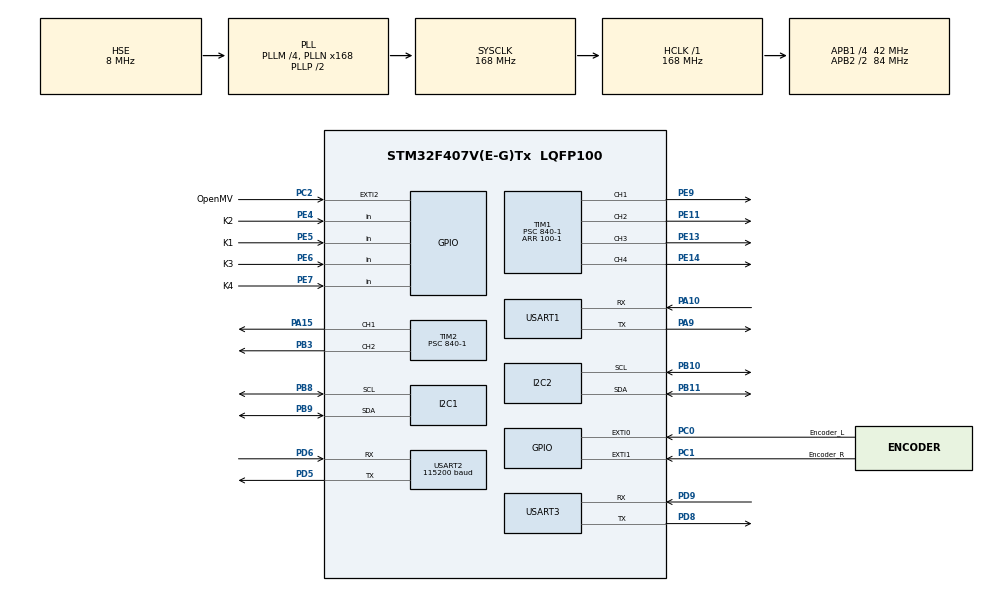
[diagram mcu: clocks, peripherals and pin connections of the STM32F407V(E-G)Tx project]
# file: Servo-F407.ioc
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Mcu.Family=STM32F4
Mcu.Name=STM32F407V(E-G)Tx
Mcu.Package=LQFP100
NVIC.EXTI0_IRQn=true\:0\:0\:false\:false\:true\:true\:true
NVIC.EXTI1_IRQn=true\:0\:0\:false\:false\:true\:true\:true
NVIC.EXTI2_IRQn=true\:0\:0\:true\:false\:true\:true\:true
NVIC.PriorityGroup=NVIC_PRIORITYGROUP_2
NVIC.TIM5_IRQn=true\:0\:0\:true\:false\:true\:true\:true
NVIC.USART1_IRQn=true\:1\:0\:true\:false\:true\:true\:true
NVIC.USART2_IRQn=true\:1\:0\:true\:false\:true\:true\:true
NVIC.USART3_IRQn=true\:1\:0\:true\:false\:true\:true\:true
PA10.Mode=Asynchronous
PA10.Signal=USART1_RX
PA15.Signal=S_TIM2_CH1_ETR
PA9.Mode=Asynchronous
PA9.Signal=USART1_TX
PB10.Mode=I2C
PB10.Signal=I2C2_SCL
PB11.Mode=I2C
PB11.Signal=I2C2_SDA
PB3.Signal=S_TIM2_CH2
PB8.Mode=I2C
PB8.Signal=I2C1_SCL
PB9.Mode=I2C
PB9.Signal=I2C1_SDA
PC0.GPIO_Label=Encoder_L
PC0.Signal=GPXTI0
PC1.GPIO_Label=Encoder_R
PC1.Signal=GPXTI1
PC2.GPIO_Label=OpenMV
PC2.Signal=GPXTI2
PD5.Mode=Asynchronous
PD5.Signal=USART2_TX
PD6.Mode=Asynchronous
PD6.Signal=USART2_RX
PD8.Mode=Asynchronous
PD8.Signal=USART3_TX
PD9.Mode=Asynchronous
PD9.Signal=USART3_RX
PE11.Signal=S_TIM1_CH2
PE13.Signal=S_TIM1_CH3
PE14.Signal=S_TIM1_CH4
PE4.GPIO_Label=K2
PE4.Signal=GPIO_Input
PE5.GPIO_Label=K1
PE5.Signal=GPIO_Input
PE6.GPIO_Label=K3
PE6.Signal=GPIO_Input
PE7.GPIO_Label=K4
PE7.Signal=GPIO_Input
PE9.Signal=S_TIM1_CH1
PH0-OSC_IN.Mode=HSE-External-Oscillator
PH0-OSC_IN.Signal=RCC_OSC_IN
PH1-OSC_OUT.Mode=HSE-External-Oscillator
PH1-OSC_OUT.Signal=RCC_OSC_OUT
ProjectManager.HeapSize=0x600
ProjectManager.StackSize=0x2000
ProjectManager.TargetToolchain=MDK-ARM V5.27
RCC.48MHZClocksFreq_Value=48000000
RCC.AHBFreq_Value=168000000
RCC.APB1CLKDivider=RCC_HCLK_DIV4
RCC.APB1Freq_Value=42000000
RCC.APB1TimFreq_Value=84000000
RCC.APB2CLKDivider=RCC_HCLK_DIV2
RCC.APB2Freq_Value=84000000
RCC.APB2TimFreq_Value=168000000
RCC.CortexFreq_Value=168000000
RCC.HCLKFreq_Value=168000000
RCC.HSE_VALUE=8000000
RCC.HSI_VALUE=16000000
RCC.LSE_VALUE=32768
RCC.PLLM=4
RCC.PLLN=168
RCC.PLLQ=7
RCC.PLLSourceVirtual=RCC_PLLSOURCE_HSE
RCC.SYSCLKFreq_VALUE=168000000
RCC.SYSCLKSource=RCC_SYSCLKSOURCE_PLLCLK
RCC.VCOOutputFreq_Value=336000000
SH.S_TIM1_CH1.0=TIM1_CH1,PWM Generation1 CH1
SH.S_TIM1_CH2.0=TIM1_CH2,PWM Generation2 CH2
SH.S_TIM1_CH3.0=TIM1_CH3,PWM Generation3 CH3
SH.S_TIM1_CH4.0=TIM1_CH4,PWM Generation4 CH4
SH.S_TIM2_CH1_ETR.0=TIM2_CH1,PWM Generation1 CH1
SH.S_TIM2_CH2.0=TIM2_CH2,PWM Generation2 CH2
TIM1.AutoReloadPreload=TIM_AUTORELOAD_PRELOAD_ENABLE
TIM1.Channel-PWM\ Generation1\ CH1=TIM_CHANNEL_1
TIM1.Channel-PWM\ Generation2\ CH2=TIM_CHANNEL_2
TIM1.Channel-PWM\ Generation3\ CH3=TIM_CHANNEL_3
TIM1.Channel-PWM\ Generation4\ CH4=TIM_CHANNEL_4
TIM1.Period=100-1
TIM1.Prescaler=840-1
TIM2.AutoReloadPreload=TIM_AUTORELOAD_PRELOAD_ENABLE
TIM2.Channel-PWM\ Generation1\ CH1=TIM_CHANNEL_1
TIM2.Channel-PWM\ Generation2\ CH2=TIM_CHANNEL_2
TIM2.Period=2000-1
TIM2.Prescaler=840-1
TIM5.AutoReloadPreload=TIM_AUTORELOAD_PRELOAD_ENABLE
TIM5.Period=1000
TIM5.Prescaler=8400-1
USART1.VirtualMode=VM_ASYNC
USART2.BaudRate=115200
USART2.VirtualMode=VM_ASYNC
USART3.VirtualMode=VM_ASYNC
VP_TIM1_VS_ClockSourceINT.Mode=Internal
VP_TIM2_VS_ClockSourceINT.Mode=Internal
VP_TIM5_VS_ClockSourceINT.Mode=Internal
board=custom

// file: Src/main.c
/* USER CODE BEGIN Header */
/**
  ******************************************************************************
  * @file           : main.c
  * @brief          : Main program body
  ******************************************************************************
  * @attention
  *
  * <h2><center>&copy; Copyright (c) 2020 STMicroelectronics.
  * All rights reserved.</center></h2>
  *
  * This software component is licensed by ST under BSD 3-Clause license,
  * the "License"; You may not use this file except in compliance with the
  * License. You may obtain a copy of the License at:
  *                        opensource.org/licenses/BSD-3-Clause
  *
  ******************************************************************************
  */
/* USER CODE END Header */
#include "main.h"
#include "i2c.h"
#include "tim.h"
#include "usart.h"
#include "gpio.h"

/* USER CODE BEGIN Includes */
#include "mlx90614.h"
#include "stdio.h"
#include "motor.h"
#include "uart_handler.h"
#include "control.h"
#include "linefinder.h"
#include "BPSim.h"
/* USER CODE END Includes */

/* USER CODE BEGIN PD */
uint8_t len;
uint16_t times=0;
float ObjectTemperature;
float AmbientTemperature,servo_x = 170,servo_y = 200;
int speed_set = 20,recive_flag = 0,scan_flag = 0;
char deviationx_rec[5],deviationy_rec[5];
uint8_t	UART1RxBuffer[1],UART2RxBuffer[1],UART3RxBuffer[1];
char Uart_get[20];
float deviationx,deviationy;
uint16_t scanresult;
uint16_t Distance;
float BP_in[2],BP_out[1];
uint16_t Encoder_L,Encoder_R;
float encoder_value_l,encoder_value_r;
int x_pos = 170,y_pos = 200;
unsigned char ucRxData[100];
unsigned char ucRxFinish=0;
static unsigned char ucCnt=0;
float Pitch,Roll,Yaw;
/* USER CODE END PD */

/* USER CODE BEGIN PV */
int fputc(int ch, FILE *f)
{
	uint8_t temp[1] = {ch};
	HAL_UART_Transmit(&huart1,temp,1,50);
	return ch;
}
 int fgetc(FILE *f)
{
  uint8_t  ch;
	HAL_UART_Receive(&huart1,(uint8_t *)&ch, 1, 0xFFFF);
	return  ch;
}

/* USER CODE END PV */

void SystemClock_Config(void);

int main(void)
{

  /* MCU Configuration--------------------------------------------------------*/

  /* Reset of all peripherals, Initializes the Flash interface and the Systick. */
  HAL_Init();

  /* Configure the system clock */
  SystemClock_Config();

  /* Initialize all configured peripherals */
  MX_GPIO_Init();
  MX_TIM1_Init();
  MX_USART1_UART_Init();
  MX_I2C1_Init();
  MX_TIM2_Init();
  MX_I2C2_Init();
  MX_TIM5_Init();
  MX_USART2_UART_Init();
  MX_USART3_UART_Init();
  /* USER CODE BEGIN 2 */
	Motor_init();
	MLX90614_Init(&hi2c2);
  MLX90614_SetEmissivity(0.985); // Human skin
	HAL_UART_Receive_IT(&huart1,UART1RxBuffer,1);
	HAL_UART_Receive_IT(&huart2,UART2RxBuffer,1);
	HAL_UART_Receive_IT(&huart3,UART3RxBuffer,1);
	HAL_TIM_Base_Start_IT(&htim5);	//开启定时器5，定时0.1s，均值滤波
	servo_init();
	simInit();
  /* USER CODE END 2 */

  /* Infinite loop */
  /* USER CODE BEGIN WHILE */
  while (1)
  {

//		Motor_set(20,0,0);
//		printf("左边电机转速：%.2f,右边电机转速：%.2f",encoder_value_l,encoder_value_r);
//		MLX90614_ReadAmbientTemperature(&AmbientTemperature);
//		MLX90614_ReadObjectTemperature(&ObjectTemperature);
//		servo_scan();
//		ScanLine_ReadPins();
//		Motor_Left_speed(20);
//		__HAL_TIM_SET_COMPARE(&htim2, TIM_CHANNEL_1,200);
//		debug_log("Now mode is %d",scanresult);
//		Control_Loop();
//		Get_Value(&ucRxFinish);
//		BP_in[0] = ObjectTemperature;
//		BP_in[1] = Distance;
//		sim(BP_in, BP_out);
//		printf("物体温度%.2f距离 %dmm",BP_out[0],Distance);
		servo_adjust(deviationx,deviationy);
//		printf("x:%.2f  y:%.2f\n",deviationx,deviationy);
		HAL_Delay(20);
    /* USER CODE END WHILE */

  }
}

void SystemClock_Config(void)
{
  RCC_OscInitTypeDef RCC_OscInitStruct = {0};
  RCC_ClkInitTypeDef RCC_ClkInitStruct = {0};

  /** Configure the main internal regulator output voltage
  */
  __HAL_RCC_PWR_CLK_ENABLE();
  __HAL_PWR_VOLTAGESCALING_CONFIG(PWR_REGULATOR_VOLTAGE_SCALE1);
  /** Initializes the RCC Oscillators according to the specified parameters
  * in the RCC_OscInitTypeDef structure.
  */
  RCC_OscInitStruct.OscillatorType = RCC_OSCILLATORTYPE_HSE;
  RCC_OscInitStruct.HSEState = RCC_HSE_ON;
  RCC_OscInitStruct.PLL.PLLState = RCC_PLL_ON;
  RCC_OscInitStruct.PLL.PLLSource = RCC_PLLSOURCE_HSE;
  RCC_OscInitStruct.PLL.PLLM = 4;
  RCC_OscInitStruct.PLL.PLLN = 168;
  RCC_OscInitStruct.PLL.PLLP = RCC_PLLP_DIV2;
  RCC_OscInitStruct.PLL.PLLQ = 7;
  if (HAL_RCC_OscConfig(&RCC_OscInitStruct) != HAL_OK)
  {
    Error_Handler();
  }
  /** Initializes the CPU, AHB and APB buses clocks
  */
  RCC_ClkInitStruct.ClockType = RCC_CLOCKTYPE_HCLK|RCC_CLOCKTYPE_SYSCLK
                              |RCC_CLOCKTYPE_PCLK1|RCC_CLOCKTYPE_PCLK2;
  RCC_ClkInitStruct.SYSCLKSource = RCC_SYSCLKSOURCE_PLLCLK;
  RCC_ClkInitStruct.AHBCLKDivider = RCC_SYSCLK_DIV1;
  RCC_ClkInitStruct.APB1CLKDivider = RCC_HCLK_DIV4;
  RCC_ClkInitStruct.APB2CLKDivider = RCC_HCLK_DIV2;

  if (HAL_RCC_ClockConfig(&RCC_ClkInitStruct, FLASH_LATENCY_5) != HAL_OK)
  {
    Error_Handler();
  }
}

/* USER CODE BEGIN 4 */
void HAL_UART_RxCpltCallback(UART_HandleTypeDef *huart)
{
	unsigned char temp=0;
	extern unsigned char UART1RxBuffer[1];

	__HAL_UART_CLEAR_PEFLAG(huart);

	if(huart->Instance == USART1)			//串口1接收中断处理
	{

	}
	if(huart->Instance == USART2)			//串口2接收中断处理
	{
		temp = UART2RxBuffer[0];
		ucRxData[ucCnt++]=temp;
		if(temp=='m')
			{
				ucRxFinish=1;
			  ucCnt=0;
			}
	}
	if(huart->Instance == USART3)			//串口3接收中断处理
	{
		Uart_Get(UART3RxBuffer);
//		debug_log("%s",UART3RxBuffer);
	}
	HAL_UART_Receive_IT(&huart1,UART1RxBuffer,1);
	HAL_UART_Receive_IT(&huart2,UART2RxBuffer,1);
	HAL_UART_Receive_IT(&huart3,UART3RxBuffer,1);
}

void HAL_GPIO_EXTI_Callback(uint16_t GPIO_Pin)//外部中断，每检测到一次输入信号的上升沿，计数值frequency自增
{
	if(GPIO_Pin == Encoder_L_Pin)
	{
		Encoder_L++;
	}
	if(GPIO_Pin == Encoder_R_Pin)
	{
		Encoder_R++;
	}
	if(GPIO_Pin == OpenMV_Pin)
	{
//		printf("ok");
//		servo_adjust(deviationx,deviationy);
	}
}

void HAL_TIM_PeriodElapsedCallback(TIM_HandleTypeDef *htim) //均值滤波算法，算脉冲更精准
{
	if(htim-> Instance == htim5.Instance)
	{
		uint16_t pwm_sum_l,pwm_avg_l,pwm_avg_r,pwm_sum_r;

		pwm_sum_l += Encoder_L * 10;
		pwm_sum_l -= pwm_avg_l;
		pwm_avg_l = pwm_sum_l * 1.0 / 5;
		encoder_value_l = pwm_avg_l / 52.0;
		Encoder_L = 0;

		pwm_sum_r += Encoder_R * 10;
		pwm_sum_r -= pwm_avg_r;
		pwm_avg_r = pwm_sum_r * 1.0 / 5;
		encoder_value_r = pwm_avg_r / 52.0;
		Encoder_R = 0;
	}
}
/* USER CODE END 4 */

void Error_Handler(void)
{
}

/************************ (C) COPYRIGHT STMicroelectronics *****END OF FILE****/
